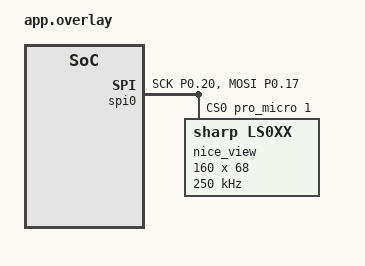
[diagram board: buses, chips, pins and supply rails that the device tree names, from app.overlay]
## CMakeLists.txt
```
# Отдельный стенд для проверки экрана: чистое Zephyr-приложение без ZMK.
cmake_minimum_required(VERSION 3.20.0)

find_package(Zephyr REQUIRED HINTS $ENV{ZEPHYR_BASE})
project(display_test)

target_sources(app PRIVATE src/patterns.c src/board.c ${CMAKE_CURRENT_SOURCE_DIR}/../common/dfu.c)
target_include_directories(app PRIVATE ${CMAKE_CURRENT_SOURCE_DIR}/../common)

# С драйвером ls0xx кадры идут через display API, без него — свой протокол.
if(CONFIG_LS0XX)
  target_sources(app PRIVATE src/main.c)
else()
  target_sources(app PRIVATE src/raw.c)
endif()
```

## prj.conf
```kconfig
# Минимум для картинки на nice!view: SPI, драйвер Sharp LS0XX, display API.
CONFIG_GPIO=y
CONFIG_SPI=y
CONFIG_DISPLAY=y
CONFIG_LS0XX=y

# LVGL нет вообще — кадр собирается руками в буфере 160x68/8 = 1360 байт.
CONFIG_MAIN_STACK_SIZE=4096

# Логи в USB-порт: собирается со snippet cdc-acm-console (см. Makefile).
CONFIG_LOG=y
CONFIG_LOG_MODE_IMMEDIATE=y
CONFIG_DISPLAY_LOG_LEVEL_DBG=y
CONFIG_SPI_LOG_LEVEL_INF=y
CONFIG_BOOT_BANNER=y

# Snippet cdc-acm-console сам USB не поднимает: без этого нет /dev/ttyACM*
# и плата вообще не появляется в lsusb.
CONFIG_USB_DEVICE_INITIALIZE_AT_BOOT=y
CONFIG_USB_DEVICE_PRODUCT="display test"
CONFIG_USB_DEVICE_MANUFACTURER="corne"

# sys_reboot(RST_UF2) для ухода в бутлоадер по команде с хоста (test/common/dfu.c).
CONFIG_REBOOT=y
```

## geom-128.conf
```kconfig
# Геометрия задаётся оверлеем, файл нужен только для симметрии флагов.
```

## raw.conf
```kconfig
# Стенд без драйвера: протокол Sharp реализован в src/raw.c.
CONFIG_LS0XX=n
```

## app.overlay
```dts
/*
 * Разводка панели на макетке — та же, что делает шилд nice_view_adapter на
 * разъёме Corne: SCK P0.20, MOSI P0.17, CS на pro_micro 1 (D1, P0.06).
 * CS у Sharp-панелей активен высоким. Питание VCC панели — с пина VCC
 * платы, то есть через ключ P0.13, его поднимает ext_power_on() в src/board.c.
 *
 * MISO не заведён: панель ничего не отдаёт, провода на макетке нет. Без
 * NRF_PSEL(SPIM_MISO, ...) пин P0.25 остаётся свободным.
 */

#include <zephyr/dt-bindings/gpio/gpio.h>
#include <zephyr/dt-bindings/pinctrl/nrf-pinctrl.h>

&pinctrl {
    spi0_default: spi0_default {
        group1 {
            psels = <NRF_PSEL(SPIM_SCK, 0, 20)>,
                <NRF_PSEL(SPIM_MOSI, 0, 17)>;
        };
    };
    spi0_sleep: spi0_sleep {
        group1 {
            psels = <NRF_PSEL(SPIM_SCK, 0, 20)>,
                <NRF_PSEL(SPIM_MOSI, 0, 17)>;
            low-power-enable;
        };
    };
};

/* i2c0 сидит на тех же пинах — гасим, иначе конфликт pinctrl. */
&i2c0 {
    status = "disabled";
};

&spi0 {
    status = "okay";
    compatible = "nordic,nrf-spim";
    pinctrl-0 = <&spi0_default>;
    pinctrl-1 = <&spi0_sleep>;
    pinctrl-names = "default", "sleep";
    cs-gpios = <&pro_micro 1 GPIO_ACTIVE_HIGH>;

    nice_view: ls0xx@0 {
        compatible = "sharp,ls0xx";
        reg = <0>;
        /* 250 кГц — рабочее значение на этом клоне, 1 МГц бьёт кадр. */
        spi-max-frequency = <250000>;
        width = <160>;
        height = <68>;
        serial-vcom-inversion;
        serial-vcom-interval = <33>;
    };
};

/ {
    chosen {
        zephyr,display = &nice_view;
    };
};
```

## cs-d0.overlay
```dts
/*
 * CS на пине D0 (P0.08) вместо D1 (P0.06): `make display-test CSPIN=d0`.
 *
 * Так разведён разъём экрана на плате клавиатуры — проверено пинвокером:
 * контакт CS разъёма отзывается на частоту пина D0, а не D1. Шилд
 * nice_view_adapter ставит `cs-gpios = <&pro_micro 1>` (P0.06), и с ним
 * панель в клавиатуре кадр не защёлкивает, хотя SCK и MOSI доходят.
 *
 * P0.08 свободен: uart0 (его RX сидит на этом пине) в сборке disabled.
 */

#include <zephyr/dt-bindings/gpio/gpio.h>

&spi0 {
    cs-gpios = <&pro_micro 0 GPIO_ACTIVE_HIGH>;
};
```

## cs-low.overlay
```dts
/*
 * Вариант CS, активного низким: `make display-test CS=low`.
 * У Sharp-панелей CS активен высоким, но на клоне может стоять инвертор.
 */

#include <zephyr/dt-bindings/gpio/gpio.h>

&spi0 {
    cs-gpios = <&pro_micro 1 GPIO_ACTIVE_LOW>;
};
```

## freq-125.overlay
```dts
/* Половина от рабочих 250 кГц: `make display-test RAW=1 FREQ=125`. */

&nice_view {
    spi-max-frequency = <125000>;
};
```

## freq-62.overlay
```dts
/*
 * 62.5 кГц — ниже штатной сетки SPIM (125k/250k/500k/1M), nRF округлит вверх
 * до 125 кГц. Файл оставлен как явная нижняя ступень для перебора.
 */

&nice_view {
    spi-max-frequency = <62500>;
};
```

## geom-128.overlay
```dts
/* Панель 128x128 (LS013B7DH03): `make display-test RAW=1 GEOM=128`. */

&nice_view {
    width = <128>;
    height = <128>;
};
```

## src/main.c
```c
/*
 * Стенд экрана nice!view через штатный драйвер ls0xx. Никакого ZMK и LVGL:
 * кадр собирается руками и уходит в display_write.
 *
 * Что смотреть:
 *   - синий светодиод платы мигает — прошивка жива, цикл идёт;
 *   - в логе имя кадра и код возврата;
 *   - счётчик шага в левом верхнем углу кадра: по залипшей картинке видно,
 *     какой именно шаг её оставил.
 *
 * Вариант с ручным CS (`make display-test MANUAL=1`) забирает пин у SPI:
 * у драйвера в SPI_DT_SPEC_INST_GET зашит delay = 0, то есть CS поднимается
 * впритык к первому такту. Полный контроль и над CS, и над VCOM даёт только
 * сборка без драйвера — src/raw.c.
 */

#include <zephyr/kernel.h>
#include <zephyr/device.h>
#include <zephyr/drivers/display.h>
#include <zephyr/drivers/gpio.h>
#include <zephyr/drivers/spi.h>
#include <zephyr/logging/log.h>

#include "board.h"
#include "dfu.h"
#include "patterns.h"

LOG_MODULE_REGISTER(display_test, LOG_LEVEL_DBG);

#define DISP   DT_CHOSEN(zephyr_display)
#define BUS    DT_BUS(DISP)
#define WIDTH  DT_PROP(DISP, width)
#define HEIGHT DT_PROP(DISP, height)
#define STRIDE (WIDTH / 8)

static uint8_t buf[STRIDE * HEIGHT];

static const struct gpio_dt_spec led =
	GPIO_DT_SPEC_GET_OR(DT_NODELABEL(blue_led), gpios, {0});

/*
 * CS панели: pro_micro 1 = D1 = P0.06. Если cs-gpios снят оверлеем, пином
 * владеет приложение и дёргает его с запасом по таймингам.
 */
#if DT_NODE_HAS_PROP(BUS, cs_gpios)
#define MANUAL_CS 0
static const struct gpio_dt_spec cs = GPIO_DT_SPEC_GET_BY_IDX(BUS, cs_gpios, 0);
#else
#define MANUAL_CS 1
static const struct gpio_dt_spec cs = {
	.port = DEVICE_DT_GET(DT_NODELABEL(gpio0)),
	.pin = 6,
	.dt_flags = GPIO_ACTIVE_HIGH,
};
#endif

static struct display_buffer_descriptor desc = {
	.buf_size = sizeof(buf),
	.width = WIDTH,
	.height = HEIGHT,
	.pitch = WIDTH,
};

#if MANUAL_CS
/*
 * Как держать CS. «Постоянно высок» — единственный режим, в котором до панели
 * доходят и кадры, и пустые VCOM-команды драйверного потока: тот шлёт их в
 * произвольный момент, и опущенный между кадрами CS их бы съел. Цена — нет
 * спада CS после кадра, которым Sharp кадр применяет.
 */
enum cs_mode {
	CS_ALWAYS_HIGH,
	CS_PULSE_200US,
	CS_PULSE_2MS,
	CS_MODE_COUNT,
};

static const char *const cs_mode_name[] = {
	"CS постоянно высок",
	"CS вокруг кадра, 200 мкс",
	"CS вокруг кадра, 2 мс",
};

/*
 * Рабочий режим — импульс 2 мс: перебор показал, что чем длиннее выдержки на
 * CS, тем больше кадров доходит целиком, а с постоянно высоким CS панель не
 * применяет кадр вовсе (ей нужен спад). Сама эта зависимость от длительности
 * фронтов и есть признак плохой линии, а не софта.
 */
static enum cs_mode cs_mode = CS_PULSE_2MS;

/*
 * Инверсия VCOM своими руками: поток драйвера снят оверлеем, потому что при
 * кадре длиннее 100 мс он отдаёт семафор, которого не брал, и его пустая
 * команда влезает в середину кадра. Между кадрами шина свободна, так что
 * шлём ту же пустую команду сами, тем же CS.
 */
#define VCOM_INTERVAL_MS 33

static const struct device *const bus = DEVICE_DT_GET(BUS);

static struct spi_config vcom_cfg = {
	.frequency = DT_PROP(DISP, spi_max_frequency),
	.operation = SPI_OP_MODE_MASTER | SPI_WORD_SET(8),
};

static bool vcom_state;

static void vcom_pulse(void)
{
	uint8_t cmd[2] = { vcom_state ? 0x02 : 0x00, 0 };
	struct spi_buf b = { .buf = cmd, .len = sizeof(cmd) };
	struct spi_buf_set set = { .buffers = &b, .count = 1 };
	bool pulse = cs_mode != CS_ALWAYS_HIGH;

	vcom_state = !vcom_state;

	if (pulse) {
		gpio_pin_set_dt(&cs, 1);
		k_busy_wait(200);
	}

	spi_write(bus, &vcom_cfg, &set);

	if (pulse) {
		k_busy_wait(200);
		gpio_pin_set_dt(&cs, 0);
	}
}

/* Пауза с инверсией VCOM: без неё панель залипает от постоянной составляющей. */
static void hold(int ms)
{
	for (int t = 0; t < ms; t += VCOM_INTERVAL_MS) {
		k_msleep(VCOM_INTERVAL_MS);
		vcom_pulse();
	}
}
#else
static void hold(int ms)
{
	k_msleep(ms);
}
#endif

static int write_frame(const struct device *dev)
{
#if MANUAL_CS
	int us = cs_mode == CS_PULSE_2MS ? 2000 : 200;
	int rc;

	if (cs_mode == CS_ALWAYS_HIGH) {
		gpio_pin_set_dt(&cs, 1);
		return display_write(dev, 0, 0, &desc, buf);
	}

	gpio_pin_set_dt(&cs, 1);
	k_busy_wait(us);
	rc = display_write(dev, 0, 0, &desc, buf);
	k_busy_wait(us);
	gpio_pin_set_dt(&cs, 0);
	k_busy_wait(us);

	return rc;
#else
	return display_write(dev, 0, 0, &desc, buf);
#endif
}

/* Меандр на CS в обход SPI: проверить тестером, что сигнал доходит. */
static void cs_square_wave(void)
{
	LOG_INF("меандр на CS (порт %s, пин %d), 3 с по 2 Гц",
		cs.port->name, cs.pin);

	for (int i = 0; i < 12; i++) {
		gpio_pin_set_dt(&cs, i % 2);
		k_sleep(K_MSEC(250));
	}
	gpio_pin_set_dt(&cs, 0);
}

#if MANUAL_CS
/*
 * Один и тот же кадр пять раз подряд — различитель причины рваности.
 * Достраивается от повтора к повтору: потери случайные, дело в целостности
 * линии. Каждый раз битый одинаково: систематика — формат посылки или
 * тайминги, а не провод.
 */
static void repeat_phase(const struct device *dev)
{
	LOG_INF("=== повтор одного кадра 5 раз (счётчик 4)");

	pattern(buf, WIDTH, HEIGHT, 6, 0);
	mark(buf, WIDTH, HEIGHT, 4);

	for (int i = 0; i < 5; i++) {
		int rc = write_frame(dev);

		LOG_INF("   повтор %d -> %d", i + 1, rc);
		hold(700);
	}

	hold(3000);
}
#endif

/*
 * Бегущая полоса — единственный кадр, на котором видно само обновление:
 * залипшую картинку от живой не отличить по статике.
 */
static void anim_phase(const struct device *dev)
{
	LOG_INF("=== бегущая полоса, 40 кадров");

	for (int i = 0; i < 40; i++) {
		pattern(buf, WIDTH, HEIGHT, PATTERN_COUNT - 1, i * 4);
		write_frame(dev);
		hold(100);
	}
}

int main(void)
{
	const struct device *dev = DEVICE_DT_GET(DISP);
	struct display_capabilities caps;

	wait_for_console();
	dfu_watch_start();

	/* Первым делом питание: без него панель мертва, а логи об этом молчат. */
	ext_power_on();

	LOG_INF("стенд экрана: %dx%d, кадр %d байт", WIDTH, HEIGHT, (int)sizeof(buf));

	if (led.port != NULL) {
		gpio_pin_configure_dt(&led, GPIO_OUTPUT_INACTIVE);
	} else {
		LOG_WRN("светодиод не найден в девайстри");
	}

	if (!device_is_ready(dev)) {
		LOG_ERR("драйвер экрана не поднялся — дальше смысла нет");
		return -ENODEV;
	}

#if MANUAL_CS
	/* Настроить до меандра: пином теперь владеем мы, а не SPI-драйвер. */
	gpio_pin_configure_dt(&cs, GPIO_OUTPUT_INACTIVE);
	LOG_INF("CS ручной (%s), VCOM свой каждые %d мс",
		cs_mode_name[cs_mode], VCOM_INTERVAL_MS);
#endif

	cs_square_wave();

	display_get_capabilities(dev, &caps);
	LOG_INF("драйвер: %dx%d, форматы 0x%02x, текущий 0x%02x, screen_info 0x%02x",
		caps.x_resolution, caps.y_resolution, caps.supported_pixel_formats,
		caps.current_pixel_format, caps.screen_info);

	/* На nice!view пин DISP притянут на плате, ответ "Unsupported" — норма. */
	LOG_INF("blanking_off: %d", display_blanking_off(dev));

	/* Структурные кадры: рамка, шахматка, линейка, полосы. */
	static const int frames[] = { 5, 4, 6, 2 };

	for (int pass = 0;; pass++) {
		for (int k = 0; k < ARRAY_SIZE(frames); k++) {
			const char *name = pattern(buf, WIDTH, HEIGHT, frames[k], 0);
			int rc;

			mark(buf, WIDTH, HEIGHT, k + 1);
			rc = write_frame(dev);

			LOG_INF("кадр (счётчик %d): %s -> %d", k + 1, name, rc);

			if (led.port != NULL) {
				gpio_pin_toggle_dt(&led);
			}

			hold(2500);
		}

		anim_phase(dev);
#if MANUAL_CS
		repeat_phase(dev);
#endif
	}

	return 0;
}
```

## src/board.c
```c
#include <zephyr/kernel.h>
#include <zephyr/device.h>
#include <zephyr/drivers/gpio.h>
#include <zephyr/drivers/uart.h>
#include <zephyr/logging/log.h>

#include "board.h"

LOG_MODULE_REGISTER(board, LOG_LEVEL_INF);

#define EXT_POWER_PIN 13
#define EXT_POWER_DELAY_MS 50

int ext_power_on(void)
{
	const struct device *gpio0 = DEVICE_DT_GET(DT_NODELABEL(gpio0));
	int rc;

	if (!device_is_ready(gpio0)) {
		LOG_ERR("gpio0 не готов");
		return -ENODEV;
	}

	rc = gpio_pin_configure(gpio0, EXT_POWER_PIN, GPIO_OUTPUT_ACTIVE);
	if (rc < 0) {
		LOG_ERR("не поднять P0.%d: %d", EXT_POWER_PIN, rc);
		return rc;
	}

	k_msleep(EXT_POWER_DELAY_MS);
	LOG_INF("внешнее питание включено (P0.%d высоко)", EXT_POWER_PIN);

	return 0;
}

void wait_for_console(void)
{
	const struct device *console = DEVICE_DT_GET(DT_CHOSEN(zephyr_console));
	uint32_t dtr = 0;

	for (int i = 0; i < 100 && !dtr; i++) {
		uart_line_ctrl_get(console, UART_LINE_CTRL_DTR, &dtr);
		k_sleep(K_MSEC(100));
	}
	k_sleep(K_MSEC(100));
}
```

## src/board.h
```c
/* Общая обвязка платы для обоих вариантов стенда. */

#ifndef BOARD_H
#define BOARD_H

/*
 * Подать внешнее 3.3 В на пин VCC платы. В zmk-варианте nice!nano это делает
 * узел EXT_POWER (gpio0 13, active high, задержка 50 мс); стенд собран на
 * базовой плате, где узла нет, поэтому поднимаем пин руками. Без этого панель
 * не питается вовсе и ловит паразитный ток только через защитные диоды
 * сигнальных линий.
 */
int ext_power_on(void);

/* Ждать, пока хост откроет порт: иначе первые строки уходят в никуда. */
void wait_for_console(void);

#endif /* BOARD_H */
```

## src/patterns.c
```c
/*
 * Кадры для стенда. Единицы — белое, нули — чёрное, левый пиксель строки
 * лежит в младшем бите байта (панель ждёт LSB первым).
 */

#include <string.h>

#include "patterns.h"

static void px(uint8_t *buf, int w, int x, int y, int on)
{
	uint8_t *byte = &buf[y * (w / 8) + x / 8];
	uint8_t m = 1 << (x % 8);

	if (on) {
		*byte |= m;
	} else {
		*byte &= ~m;
	}
}

/* Вертикальная метка высотой len в столбце x. */
static void vtick(uint8_t *buf, int w, int h, int x, int len)
{
	if (x >= w) {
		return;
	}
	for (int y = 0; y < len && y < h; y++) {
		px(buf, w, x, y, 1);
	}
}

/* Горизонтальная метка длиной len в строке y. */
static void htick(uint8_t *buf, int w, int h, int y, int len)
{
	if (y >= h) {
		return;
	}
	for (int x = 0; x < len && x < w; x++) {
		px(buf, w, x, y, 1);
	}
}

void mark(uint8_t *buf, int w, int h, int n)
{
	for (int i = 0; i < n && (4 + i * 8 + 6) < w; i++) {
		for (int y = 4; y < 10 && y < h; y++) {
			for (int x = 4 + i * 8; x < 10 + i * 8; x++) {
				px(buf, w, x, y, 1);
			}
		}
	}
}

const char *pattern(uint8_t *buf, int w, int h, int n, int phase)
{
	int stride = w / 8;

	switch (n) {
	case 0:
		memset(buf, 0x00, stride * h);
		return "всё нулями (0x00)";
	case 1:
		memset(buf, 0xff, stride * h);
		return "всё единицами (0xff)";
	case 2:
		memset(buf, 0xaa, stride * h);
		return "вертикальные полосы через пиксель";
	case 3:
		for (int y = 0; y < h; y++) {
			memset(&buf[y * stride], y < h / 2 ? 0x00 : 0xff, stride);
		}
		return "верх нулями, низ единицами";
	case 4:
		for (int y = 0; y < h; y++) {
			for (int x = 0; x < w; x++) {
				px(buf, w, x, y, ((x / 8) + (y / 8)) % 2);
			}
		}
		return "шахматка 8x8";
	case 5:
		memset(buf, 0x00, stride * h);
		for (int x = 0; x < w; x++) {
			px(buf, w, x, 0, 1);
			px(buf, w, x, h - 1, 1);
		}
		for (int y = 0; y < h; y++) {
			px(buf, w, 0, y, 1);
			px(buf, w, w - 1, y, 1);
			px(buf, w, y * w / h, y, 1);
		}
		return "рамка и диагональ";
	case 6:
		/*
		 * Линейка: по ней читается фактическая геометрия панели.
		 * Метки в столбцах 8/16/32/64/128 разной высоты и в строках
		 * 8/16/32/64 разной длины. Если панель уже кадра, дальние
		 * метки не появятся, а строки поедут — сразу видно, где обрез.
		 */
		memset(buf, 0x00, stride * h);
		vtick(buf, w, h, 8, 8);
		vtick(buf, w, h, 16, 16);
		vtick(buf, w, h, 32, 24);
		vtick(buf, w, h, 64, 32);
		vtick(buf, w, h, 128, 40);
		htick(buf, w, h, 8, 8);
		htick(buf, w, h, 16, 16);
		htick(buf, w, h, 32, 24);
		htick(buf, w, h, 64, 32);
		return "линейка (метки 8/16/32/64/128)";
	default:
		memset(buf, 0x00, stride * h);
		for (int y = 0; y < h; y++) {
			for (int x = phase % w; x < (phase % w) + 16 && x < w; x++) {
				px(buf, w, x, y, 1);
			}
		}
		return "бегущая полоса";
	}
}
```

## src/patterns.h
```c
/* Тестовые кадры. Геометрия параметром: стенд перебирает разные панели. */

#ifndef PATTERNS_H
#define PATTERNS_H

#include <stdint.h>

/* Кадр n в buf. Возвращает имя кадра. phase крутится для подвижных. */
const char *pattern(uint8_t *buf, int w, int h, int n, int phase);

/* Счётчик шага: n квадратов 6x6 по верхнему краю. */
void mark(uint8_t *buf, int w, int h, int n);

#define PATTERN_COUNT 8

#endif /* PATTERNS_H */
```

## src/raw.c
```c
/*
 * Стенд без драйвера: протокол Sharp реализован здесь, поэтому под контролем
 * всё сразу — тайминги CS, инверсия VCOM, состав посылки.
 *
 * Зачем: апстримный ls0xx берёт шину с delay = 0 (CS впритык к тактам) и
 * гоняет VCOM отдельным потоком, который дёргает тот же пин. Разделить эти
 * два фактора через devicetree нельзя, а здесь можно.
 *
 * Протокол (LS0XX, serial VCOM):
 *   CS высоко -> команда 0x01|VCOM -> для каждой строки: номер (с 1),
 *   W/8 байт данных, байт-пустышка -> завершающий байт -> CS низко.
 *   Панель применяет кадр по спаду CS. Без периодической инверсии VCOM
 *   она залипает от постоянной составляющей за десяток секунд.
 *
 * Прогон перебирает два пина в роли CS (D1 по адаптеру и D0) на пяти составах
 * посылки, каждый шаг начинается командой CLEAR. Счётчик в левом верхнем углу
 * кадра = номер шага, порядок совпадает с логом.
 */

#include <zephyr/kernel.h>
#include <zephyr/device.h>
#include <zephyr/drivers/spi.h>
#include <zephyr/drivers/gpio.h>
#include <zephyr/logging/log.h>

#include "board.h"
#include "patterns.h"

LOG_MODULE_REGISTER(display_test, LOG_LEVEL_DBG);

#define DISP   DT_CHOSEN(zephyr_display)
#define WIDTH  DT_PROP(DISP, width)
#define HEIGHT DT_PROP(DISP, height)
#define STRIDE (WIDTH / 8)

#define CMD_WRITE 0x01
#define CMD_VCOM  0x02
#define CMD_CLEAR 0x04

/* Запас по таймингам CS: у Sharp хватает единиц микросекунд, берём с лихвой. */
#define CS_SETUP_US 200
#define CS_HOLD_US  200
#define CS_LOW_US   200

#define VCOM_INTERVAL_MS 33

/* Чем режим отличается от драйверной посылки. */
struct mode {
	const char *name;
	bool vcom_in_cmd;   /* бит VCOM в команде кадра */
	bool vcom_pulses;   /* пустые команды между кадрами */
	uint8_t dummy;      /* байт-пустышка после строки */
	uint8_t trailing;   /* завершающий байт кадра */
	bool single_xfer;   /* весь кадр одной посылкой */
};

/*
 * Составы посылки: отличия моего кода от драйверного. Проверялись на
 * непитаемой панели, поэтому перебор нужен заново.
 */
static const struct mode modes[] = {
	{ "полный VCOM", true, true, 27, CMD_WRITE, false },
	{ "VCOM только в команде", true, false, 27, CMD_WRITE, false },
	{ "без VCOM (как -mcs)", false, false, 27, CMD_WRITE, false },
	{ "без VCOM, пустышки нулями", false, false, 0, 0, false },
	{ "без VCOM, одной посылкой", false, false, 27, CMD_WRITE, true },
};

/* Пины: штатный по адаптеру и сосед, на который падало подозрение. */
static const int probe_pins[] = { 1, 0 };

static const struct device *const spi = DEVICE_DT_GET(DT_BUS(DISP));

/* SPI_LOCK_ON — как у драйвера: шина держится за нами весь кадр. */
static struct spi_config spi_cfg = {
	.frequency = DT_PROP(DISP, spi_max_frequency),
	.operation = SPI_OP_MODE_MASTER | SPI_WORD_SET(8) | SPI_LOCK_ON,
};

/*
 * CS держим сами (cs-gpios с шины снят оверлеем) и перебираем: в прогоне с
 * ручным CS на D1 кадры проходили ровно пока был поднят D0, то есть провод
 * припаян не туда, куда его ждёт nice_view_adapter. Пины шины пропущены:
 * D2 (P0.17, MOSI) и D3 (P0.20, SCK).
 */
struct cand {
	const struct device *port;
	gpio_pin_t pin;
	const char *name;
};

#define CAND(dev, p, n) { DEVICE_DT_GET(DT_NODELABEL(dev)), p, n }

static const struct cand cands[] = {
	CAND(gpio0, 8, "D0 P0.08"),   CAND(gpio0, 6, "D1 P0.06"),
	CAND(gpio0, 22, "D4 P0.22"),  CAND(gpio0, 24, "D5 P0.24"),
	CAND(gpio1, 0, "D6 P1.00"),   CAND(gpio0, 11, "D7 P0.11"),
	CAND(gpio1, 4, "D8 P1.04"),   CAND(gpio1, 6, "D9 P1.06"),
	CAND(gpio0, 9, "D10 P0.09"),  CAND(gpio0, 10, "D16 P0.10"),
	CAND(gpio1, 11, "D14 P1.11"), CAND(gpio1, 13, "D15 P1.13"),
	CAND(gpio1, 15, "D18 P1.15"), CAND(gpio0, 2, "D19 P0.02"),
	CAND(gpio0, 29, "D20 P0.29"), CAND(gpio0, 31, "D21 P0.31"),
};

/* Текущий кандидат в роли CS. */
static const struct cand *cs = &cands[0];

static const struct gpio_dt_spec led =
	GPIO_DT_SPEC_GET_OR(DT_NODELABEL(blue_led), gpios, {0});

static uint8_t fb[STRIDE * HEIGHT];
static uint8_t line[STRIDE + 2];
static uint8_t tx[1 + HEIGHT * (STRIDE + 2) + 1];
static bool vcom;

static int put(const uint8_t *buf, size_t len)
{
	struct spi_buf b = { .buf = (void *)buf, .len = len };
	struct spi_buf_set set = { .buffers = &b, .count = 1 };

	return spi_write(spi, &spi_cfg, &set);
}

static void cs_begin(void)
{
	gpio_pin_set(cs->port, cs->pin, 1);
	k_busy_wait(CS_SETUP_US);
}

static void cs_end(void)
{
	k_busy_wait(CS_HOLD_US);
	gpio_pin_set(cs->port, cs->pin, 0);
	spi_release(spi, &spi_cfg);
	k_busy_wait(CS_LOW_US);
}

static uint8_t vcom_bit(void)
{
	uint8_t bit = vcom ? CMD_VCOM : 0;

	vcom = !vcom;
	return bit;
}

/* Пустая команда: только инверсия VCOM, кадр не трогает. */
static int vcom_pulse(void)
{
	uint8_t cmd[2] = { vcom_bit(), 0 };
	int rc;

	cs_begin();
	rc = put(cmd, sizeof(cmd));
	cs_end();

	return rc;
}

/* Команда полной очистки: некоторые панели ждут её перед первым кадром. */
static int clear(void)
{
	uint8_t cmd[2] = { CMD_CLEAR, 0 };
	int rc;

	cs_begin();
	rc = put(cmd, sizeof(cmd));
	cs_end();

	return rc;
}

static int flush(const struct mode *m)
{
	uint8_t cmd = CMD_WRITE | (m->vcom_in_cmd ? vcom_bit() : 0);
	uint8_t trailing = m->trailing;
	int rc = 0;

	if (m->single_xfer) {
		size_t n = 0;

		tx[n++] = cmd;
		for (int y = 0; y < HEIGHT; y++) {
			tx[n++] = y + 1;
			memcpy(&tx[n], &fb[y * STRIDE], STRIDE);
			n += STRIDE;
			tx[n++] = m->dummy;
		}
		tx[n++] = trailing;

		cs_begin();
		rc = put(tx, n);
		cs_end();

		return rc;
	}

	/* Отдельными посылками — ровно как ls0xx. */
	cs_begin();
	rc |= put(&cmd, sizeof(cmd));

	for (int y = 0; y < HEIGHT; y++) {
		line[0] = y + 1;
		memcpy(&line[1], &fb[y * STRIDE], STRIDE);
		line[STRIDE + 1] = m->dummy;
		rc |= put(line, sizeof(line));
	}

	rc |= put(&trailing, sizeof(trailing));
	cs_end();

	return rc;
}

/* Пауза; в режимах с VCOM — с инверсией, иначе панель залипает. */
static void hold(const struct mode *m, int ms)
{
	if (!m->vcom_pulses) {
		k_msleep(ms);
		return;
	}

	for (int t = 0; t < ms; t += VCOM_INTERVAL_MS) {
		k_msleep(VCOM_INTERVAL_MS);
		vcom_pulse();
	}
}

int main(void)
{
	wait_for_console();

	/* Первым делом питание: без него панель мертва, а логи об этом молчат. */
	ext_power_on();

	LOG_INF("стенд без драйвера: %dx%d, кадр %d байт", WIDTH, HEIGHT,
		(int)sizeof(fb));
	LOG_INF("SPI %d Гц, CS вручную (%d/%d/%d мкс), шагов %d",
		spi_cfg.frequency, CS_SETUP_US, CS_HOLD_US, CS_LOW_US,
		(int)(ARRAY_SIZE(probe_pins) * ARRAY_SIZE(modes)));

	if (!device_is_ready(spi)) {
		LOG_ERR("SPI не готов");
		return -ENODEV;
	}

	if (!device_is_ready(cs->port)) {
		LOG_ERR("порт CS не готов");
		return -ENODEV;
	}

	for (int i = 0; i < ARRAY_SIZE(cands); i++) {
		gpio_pin_configure(cands[i].port, cands[i].pin, GPIO_OUTPUT_INACTIVE);
	}
	if (led.port != NULL) {
		gpio_pin_configure_dt(&led, GPIO_OUTPUT_INACTIVE);
	}

	LOG_INF("проба VCOM-команды на %s: %d", cs->name, vcom_pulse());

	/* Три структурных кадра на шаг: рамка, шахматка, линейка. */
	static const int frames[] = { 5, 4, 6 };

	for (int pass = 0;; pass++) {
		int step = 0;

		for (int p = 0; p < ARRAY_SIZE(probe_pins); p++) {
			cs = &cands[probe_pins[p]];

			for (int i = 0; i < ARRAY_SIZE(modes); i++) {
				const struct mode *m = &modes[i];

				step++;
				LOG_INF("=== шаг %d (счётчик %d): CS на %s, %s",
					step, step, cs->name, m->name);
				LOG_INF("   clear -> %d", clear());

				for (int k = 0; k < ARRAY_SIZE(frames); k++) {
					const char *name = pattern(fb, WIDTH, HEIGHT,
								   frames[k], 0);
					int rc;

					mark(fb, WIDTH, HEIGHT, step);
					rc = flush(m);

					LOG_INF("   %s -> %d", name, rc);
					if (rc != 0) {
						LOG_ERR("spi_write вернул %d", rc);
					}

					if (led.port != NULL) {
						gpio_pin_toggle_dt(&led);
					}

					hold(m, 2000);
				}
			}
		}
	}

	return 0;
}
```
